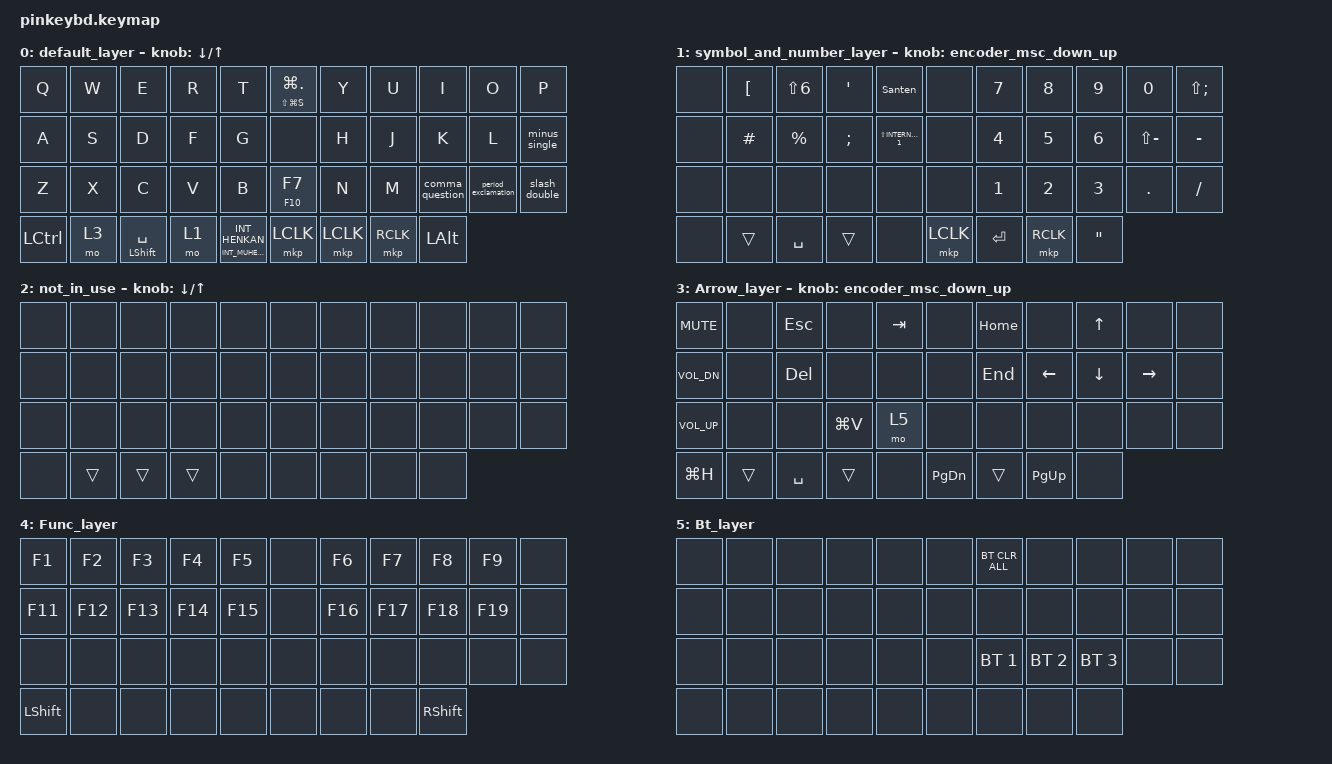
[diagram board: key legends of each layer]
#include <behaviors.dtsi>
#include <dt-bindings/zmk/bt.h>
#include <dt-bindings/zmk/keys.h>
#include <dt-bindings/zmk/pointing.h>

#define ZMK_POINTING_DEFAULT_SCRL_VAL 80

&mt {
    flavor = "balanced";
    tapping-term-ms = <230>;
};

&lt {
    tapping-term-ms = <230>;
    flavor = "balanced";
};

/ {
    behaviors {
        rot_kp: sensor_rotate_kp {
            compatible = "zmk,behavior-sensor-rotate-var";
            #sensor-binding-cells = <2>;
            bindings = <&kp>, <&kp>;
        };

        minus_single: minus_single {
            compatible = "zmk,behavior-mod-morph";
            label = "MINUS_SINGLE";
            bindings = <&kp MINUS>, <&kp LS(N7)>;

            #binding-cells = <0>;
            mods = <(MOD_LSFT)>;
        };

        slash_double: slash_double {
            compatible = "zmk,behavior-mod-morph";
            label = "SLASH_DOUBLE";
            bindings = <&kp SLASH>, <&kp AT>;

            #binding-cells = <0>;
            mods = <(MOD_LSFT)>;
        };

        period_exclamation: period_exclamation {
            compatible = "zmk,behavior-mod-morph";
            label = "PERIOD_EXCLAMATION";
            bindings = <&kp PERIOD>, <&kp EXCLAMATION>;

            #binding-cells = <0>;
            mods = <(MOD_LSFT)>;
        };

        comma_question: comma_question {
            compatible = "zmk,behavior-mod-morph";
            label = "COMMA_QUESTION";
            bindings = <&kp COMMA>, <&kp QUESTION>;

            #binding-cells = <0>;
            mods = <(MOD_LSFT)>;
        };

        encoder_msc_down_up: encoder_msc_down_up {
            compatible = "zmk,behavior-sensor-rotate";
            label = "ENCODER_MSC_DOWN_UP";
            #sensor-binding-cells = <0>;
            bindings = <&msc SCRL_DOWN>, <&msc SCRL_UP>;

            tap-ms = <40>;
        };
    };

    combos {
        compatible = "zmk,combos";

        left_kakko {
            bindings = <&kp LS(N8)>;
            key-positions = <2 3>;
            layers = <0 2 1>;
        };

        right_kakko {
            bindings = <&kp LS(N9)>;
            key-positions = <3 4>;
            layers = <0 1 2>;
        };

        Left_kagi {
            bindings = <&kp RIGHT_BRACKET>;
            key-positions = <13 14>;
            layers = <0 1 2>;
        };

        Right_kagi {
            bindings = <&kp NUHS>;
            key-positions = <15 14>;
            layers = <0 2 1>;
        };

        Syounari {
            bindings = <&kp LS(COMMA)>;
            key-positions = <24 25>;
            layers = <0 2 1>;
        };

        Dainari {
            bindings = <&kp LS(DOT)>;
            key-positions = <25 26>;
            layers = <0 1 2>;
        };

        Left_boot_reset {
            bindings = <&bootloader>;
            key-positions = <0 1 2 3>;
            layers = <0>;
        };

        Right_boot_reset {
            bindings = <&bootloader>;
            key-positions = <10 9 8 7>;
            layers = <0>;
        };

        middle_mouse_click {
            bindings = <&mkp MCLK>;
            key-positions = <40 38>;
            layers = <0 1 5>;
        };

        Enter {
            bindings = <&kp ENTER>;
            key-positions = <18 20>;
            layers = <0 1>;
        };

        Backspace {
            bindings = <&kp BACKSPACE>;
            key-positions = <14 12>;
            layers = <0 1>;
        };

        Temporary_Middle_mouse_click {
            bindings = <&mkp MCLK>;
            key-positions = <39 40>;
            layers = <0 1>;
        };
    };

    behaviors {
    };

    macros {
        Santen: Santen {
            compatible = "zmk,behavior-macro";
            #binding-cells = <0>;
            bindings = <&kp QUESTION &kp T &kp INT_HENKAN>;
            label = "SANTEN";
        };
    };

    keymap {
        compatible = "zmk,keymap";

        // ---------------------------------------------------------------------------------------------------------------------------------------------------------------------------------------------------------------
        // |        /       |       ,       |       .       |      -        |      ;       |    ESC         |                   |           |       L      |       R       |       D       |       Y       |      P      |
        // |        A       |       O       |       E       |      I        |      U       |    SCROLLLOCK  |                   |           |       G      |       N       |       T       |       S       |      K      |
        // |        X       |       C       |       V       |      W        |      Q       |    TAB         |                   |     F     |       J      |       H       |       M       |       B       |      Z      |
        // |    L_SHIFT     |               |               |   LOWER / Jp  |    Space     |    LEFT_WIN    |                   |  R_SHIFT  |      ENTER   |  LOWER2 / Ja  |               |               |   FUN_L     |
        // ---------------------------------------------------------------------------------------------------------------------------------------------------------------------------------------------------------------

        default_layer {
            bindings = <
&kp Q      &kp W  &kp E                 &kp R  &kp T                        &mt LS(LG(S)) LG(PERIOD)  &kp Y      &kp U      &kp I            &kp O                &kp P
&kp A      &kp S  &kp D                 &kp F  &kp G                        &none                     &kp H      &kp J      &kp K            &kp L                &minus_single
&kp Z      &kp X  &kp C                 &kp V  &kp B                        &mt F10 F7                &kp N      &kp M      &comma_question  &period_exclamation  &slash_double
&kp LCTRL  &mo 3  &mt LEFT_SHIFT SPACE  &mo 1  &mt INT_MUHENKAN INT_HENKAN  &mkp LCLK                 &mkp LCLK  &mkp RCLK  &kp LEFT_ALT
            >;

            sensor-bindings = <&rot_kp DOWN_ARROW UP_ARROW>;
        };

        // ----------------------------------------------------------------------------------------------------------------------------------------------------------------------------------------------------------------
        // |    /           |       ,       |       END     |     （        |      ”        |    PAUSE_BREAK|                  |            |      （       |       ）     |        ↑      |        [      |      ]      |
        // |    HOME        |       C_SAVE  |       END     |       ）      |       U       |    SCROLLLOCK |                  |            |   Backspace   |       ←      |        ↓      |        →      |     DEL     |
        // |    UNDO        |       CUT     |       COPY    |       PASTE   |       Q       |    TAB        |                  |   PSCRN    |    ' / "      |    = / +     |    \ / |      |    ` / ~      |    INS      |
        // |    L_SHIFT     |               |               |       none    |    SPACE      |    LALT       |                  |   RSHIFT   |   ENTER       |       FUN_L  |               |               |    RCTRL    |
        // ----------------------------------------------------------------------------------------------------------------------------------------------------------------------------------------------------------------

        symbol_and_number_layer {
            bindings = <
&none  &kp LEFT_BRACKET  &kp LS(NUMBER_6)  &kp SINGLE_QUOTE  &Santen                  &none      &kp N7        &kp N8        &kp N9             &kp N0         &kp LS(SEMICOLON)
&none  &kp HASH          &kp PERCENT       &kp SEMI          &kp LS(INTERNATIONAL_1)  &none      &kp NUMBER_4  &kp N5        &kp NUMBER_6       &kp LS(MINUS)  &kp MINUS
&none  &none             &none             &none             &none                    &none      &kp NUMBER_1  &kp NUMBER_2  &kp NUMBER_3       &kp PERIOD     &kp SLASH
&none  &trans            &kp SPACE         &trans            &none                    &mkp LCLK  &kp ENTER     &mkp RCLK     &kp DOUBLE_QUOTES
            >;

            sensor-bindings = <&encoder_msc_down_up>;
        };

        // -------------------------------------------------------------------------------------------------------------------------------------------------------------------------------------------------------------
        // |    /           |       ,        |       END     |       {       |       ’      |    ESC        |                  |            |      L      |      R         |    PG_UP      |     {       |      }      |
        // |    HOME        |       C_SAVE   |       END     |       }       |       U      |    LCTRL      |                  |            |  Backspace  |    HOME        |    PG_DN      |    END      |    DEL      |
        // |    UNDO        |       CUT      |       COPY    |       PASTE   |       Q      |    TAB        |                  |      F     |    ' / "    |    = / +       |    \ / |      |    ` / ~    |    INS      |
        // |    L_SHIFT     |                |               |       BT_L    |      SPACE   |    LALT       |                  |   ENTER    |    none     |   R_SHIFT      |               |             |   R_SHIFT   |
        // -------------------------------------------------------------------------------------------------------------------------------------------------------------------------------------------------------------

        not_in_use {
            bindings = <
&none  &none   &none   &none   &none  &none  &none  &none  &none  &none  &none
&none  &none   &none   &none   &none  &none  &none  &none  &none  &none  &none
&none  &none   &none   &none   &none  &none  &none  &none  &none  &none  &none
&none  &trans  &trans  &trans  &none  &none  &none  &none  &none
            >;

            sensor-bindings = <&rot_kp DOWN UP_ARROW>;
        };

        // --------------------------------------------------------------------------------------------------------------------------------------------------------------------------------------------------------------
        // |        1       |      2        |       3       |       4       |       5       |    ESC        |               |            |      6       |      7        |       8       |       9       |       0       |
        // |        !       |      @        |       #       |       $       |       %       |    none       |               |            |      ^       |      &        |       *       |       (       |       )       | 
        // |        F1      |     F2        |     F3        |       F4      |       F5      |    TAB        |               |     F11    |    ' / "     |    = / +      |    \ / |      |    ` / ~      |       INS     |
        // |    L_SHIFT     |               |               | En / LOWER    |    Space      |    LSIHT      |               |   R_SHIFT  |      ENTER   |     none      |               |               |       R_SHIFT |
        // --------------------------------------------------------------------------------------------------------------------------------------------------------------------------------------------------------------

        Arrow_layer {
            bindings = <
&kp C_MUTE       &none   &kp ESCAPE  &none      &kp TAB  &none          &kp HOME  &none           &kp UP_ARROW  &none            &none
&kp C_VOL_DN     &none   &kp DEL     &none      &none    &none          &kp END   &kp LEFT_ARROW  &kp DOWN      &kp RIGHT_ARROW  &none
&kp C_VOLUME_UP  &none   &none       &kp LG(V)  &mo 5    &none          &none     &none           &none         &none            &none
&kp LG(H)        &trans  &kp SPACE   &trans     &none    &kp PAGE_DOWN  &trans    &kp PAGE_UP     &none
            >;

            sensor-bindings = <&encoder_msc_down_up>;
        };

        // ---------------------------------------------------------------------------------------------------------------------------------------------------------------------------------
        // |     F1      |     F2     |     F3     |     F4     |    F5      |    none    |                |            |    F6      |    F7      |    F8      |    F9       |     F10     |
        // |     F11     |     F12    |     F13    |     F14    |    F15     |    none    |                |   none     |    F16     |    F17     |    F18     |    F19      |     F20     |
        // |     none    |    none    |    none    |    none    |   none     |    none    |                |   none     |    none    |    none    |    none    |    none     |     none    |
        // |     L_SHIFT |    none    |    none    |    none    |   none     |    none    |                |   none     |    none    |    none    |    none    |    none     |     R_SHIFT |
        // ---------------------------------------------------------------------------------------------------------------------------------------------------------------------------------

        Func_layer {
            bindings = <
&kp F1      &kp F2   &kp F3   &kp F4   &kp F5   &none  &kp F6   &kp F7   &kp F8      &kp F9   &none
&kp F11     &kp F12  &kp F13  &kp F14  &kp F15  &none  &kp F16  &kp F17  &kp F18     &kp F19  &none
&none       &none    &none    &none    &none    &none  &none    &none    &none       &none    &none
&kp LSHIFT  &none    &none    &none    &none    &none  &none    &none    &kp RSHIFT
            >;
        };

        // --------------------------------------------------------------------------------------------------------------------------------------------------------------------------------
        // |    none    |    none    |    none    |    none    |   none     |    none    |                  |            |    none    |    none    |    none    |   none     |    none    |
        // |  BT_SEL 0  |  BT_SEL 1  |  BT_SEL 2  |  BT_SEL 3  |   none     |    none    |                  |            |    none    |    none    |    none    |   BT_CLR   | BT_CLR_ALL |
        // |    none    |    none    |    none    |    none    |   none     |    none    |                  |    none    |    none    |   BT_PRV   |    none    |   BT_NXT   |    none    |
        // |    none    |    none    |    none    |    none    |   none     |    none    |                  |    none    |    none    |    none    |    none    |   none     |    none    |
        // --------------------------------------------------------------------------------------------------------------------------------------------------------------------------------

        Bt_layer {
            bindings = <
&none  &none  &none  &none  &none  &none  &bt BT_CLR_ALL  &none         &none         &none  &none
&none  &none  &none  &none  &none  &none  &none           &none         &none         &none  &none
&none  &none  &none  &none  &none  &none  &bt BT_SEL 1    &bt BT_SEL 2  &bt BT_SEL 3  &none  &none
&none  &none  &none  &none  &none  &none  &none           &none         &none
            >;
        };
    };
};
